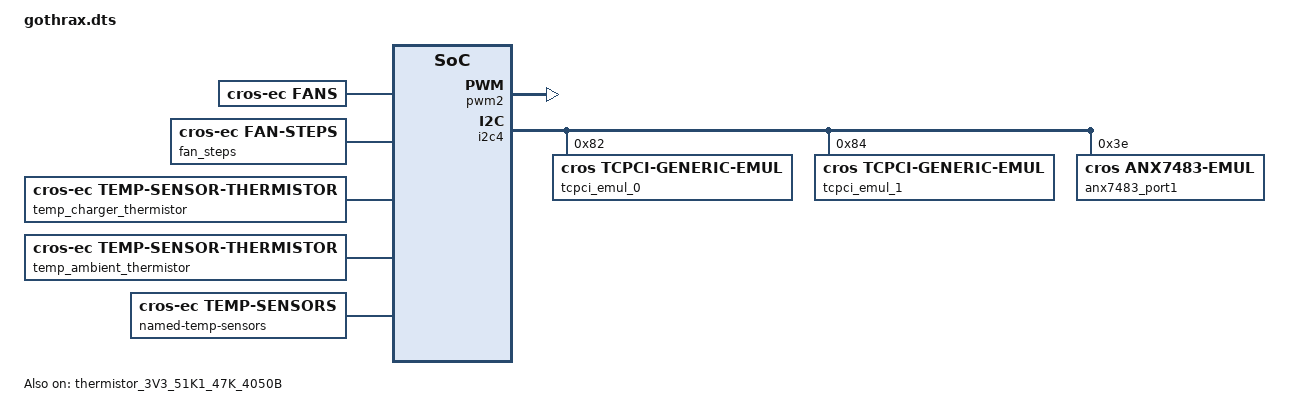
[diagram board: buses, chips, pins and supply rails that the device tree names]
/* Copyright 2023 The ChromiumOS Authors
 * Use of this source code is governed by a BSD-style license that can be
 * found in the LICENSE file.
 */
#include <cros/thermistor/thermistor.dtsi>
#include <dt-bindings/pwm/pwm.h>
#include <it8xxx2_emul.dts>
#include "../program/nissa/cbi.dtsi"
#include "../program/nissa/gothrax/cbi.dtsi"
#include "../program/nissa/gothrax/motionsense.dtsi"
/ {
	aliases {
		gpio-usb-c1-int-odl = &gpio_sb_1;
	};

	named-gpios {
		compatible = "named-gpios";

		gpio_ec_entering_rw: ec_entering_rw {
			gpios = <&gpioc 7 GPIO_OUTPUT>;
			enum-name = "GPIO_ENTERING_RW";
		};
		gpio_en_usb_c0_cc1_vconn: en_usb_c0_cc1_vconn {
			gpios = <&gpioh 4 GPIO_OUTPUT>;
		};
		gpio_en_usb_c0_cc2_vconn: en_usb_c0_cc2_vconn {
			gpios = <&gpioh 6 GPIO_OUTPUT>;
		};
		gpio_usb_c0_int_odl: usb_c0_int_odl {
			gpios = <&gpiok 0 GPIO_INPUT_PULL_UP>;
		};
		gpio_sb_1: sb_1 {
			gpios = <&gpioe 6 0>;
			no-auto-init;
		};
		gpio_imu_int_l: imu_int_l {
			gpios = <&gpioa 7 GPIO_INPUT>;
		};
		gpio_acc_int_l: acc_int_l {
			gpios = <&gpioc 0 GPIO_INPUT>;
		};
		gpio_tablet_mode_l: tablet_mode_l {
			gpios = <&gpioj 0 GPIO_INPUT>;
			enum-name = "GPIO_TABLET_MODE_L";
		};
		gpio_fan_enable: fan-enable {
			gpios = <&gpiog 3 GPIO_OUTPUT>;
			no-auto-init;
		};
		gpio_ec_soc_dsw_pwrok: ec_soc_dsw_pwrok {
			gpios = <&gpiol 7 GPIO_OUTPUT>;
			no-auto-init;
		};
	};

	gpio-interrupts {
		compatible = "cros-ec,gpio-interrupts";

		int_imu: ec_imu {
			irq-pin = <&gpio_imu_int_l>;
			flags = <GPIO_INT_EDGE_FALLING>;
			handler = "motion_interrupt";
		};
		int_lid_imu: lid_imu {
			irq-pin = <&gpio_acc_int_l>;
			flags = <GPIO_INT_EDGE_FALLING>;
			handler = "lid_accel_interrupt";
		};
		int_tablet_mode: tablet_mode {
			irq-pin = <&gpio_tablet_mode_l>;
			flags = <GPIO_INT_EDGE_BOTH>;
			handler = "gmr_tablet_switch_isr";
		};
	};
	named-i2c-ports {
		compatible = "named-i2c-ports";

		i2c_ec_i2c_batt: ec_i2c_batt {
			i2c-port = <&i2c0>;
			enum-names = "I2C_PORT_BATTERY";
		};
		i2c_ec_i2c_sensor: ec_i2c_sensor {
			i2c-port = <&i2c2>;
			enum-names = "I2C_PORT_SENSOR";
		};
	};

	usbc {
		#address-cells = <1>;
		#size-cells = <0>;
		port0@0 {
			compatible = "named-usbc-port";
			reg = <0>;
			tcpc = <&tcpci_emul_0>;
			usb-mux-chain-0 {
				compatible = "cros-ec,usb-mux-chain";
				usb-muxes = <&virtual_mux_0>;
			};
		};
		port1@1 {
			compatible = "named-usbc-port";
			reg = <1>;
			tcpc = <&tcpci_emul_1>;
			usb-mux-chain-1 {
				compatible = "cros-ec,usb-mux-chain";
				usb-muxes = <&virtual_mux_1 &anx7483_port1>;
			};
		};
		port0-muxes {
			virtual_mux_0: virtual-mux-0 {
				compatible = "cros-ec,usbc-mux-virtual";
			};
		};
		port1-muxes {
			virtual_mux_1: virtual-mux-1 {
				compatible = "cros-ec,usbc-mux-virtual";
			};
		};
	};
	pwms {
		#address-cells = <1>;
		#size-cells = <1>;
		pwm2: pwm@6 {
			compatible = "cros,pwm-mock";
			reg = <6 2>;
			#pwm-cells = <3>;
			status = "okay";
		};
	};
	tachs {
		#address-cells = <1>;
		#size-cells = <1>;
		tach1: tach@1 {
			compatible = "cros,tach-mock";
			reg = <1 1>;
			#tach-cells = <3>;
			status = "okay";
		};
	};
	fans {
		compatible = "cros-ec,fans";
		fan0: fan_0 {
			pwms = <&pwm2 2 PWM_KHZ(25) PWM_POLARITY_NORMAL>;
			tach = <&tach1>;
			rpm_min = <2500>;
			rpm_start = <2500>;
			rpm_max = <4800>;
			rpm_deviation = <1>;
			enable_gpio = <&gpio_fan_enable>;
		};
	};
	fan_steps {
		compatible = "cros-ec,fan-steps";
		level_0 {
			temp_on = <36 0 0>;
			temp_off = <99 0 0>;
			rpm_target = <0>;
		};
		level_1 {
			temp_on = <41 0 0>;
			temp_off = <38 0 0>;
			rpm_target = <3000>;
		};
		level_2 {
			temp_on = <47 0 0>;
			temp_off = <44 0 0>;
			rpm_target = <3500>;
		};
		level_3 {
			temp_on = <53 0 0>;
			temp_off = <50 0 0>;
			rpm_target = <4000>;
		};
		level_4 {
			temp_on = <63 0 0>;
			temp_off = <60 0 0>;
			rpm_target = <4500>;
		};
		level_5 {
			temp_on = <70 0 0>;
			temp_off = <67 0 0>;
			rpm_target = <4800>;
		};
	};
	named-adc-channels {
		compatible = "named-adc-channels";
		adc_temp_sensor_1: temp_sensor_1 {
			enum-name = "ADC_TEMP_SENSOR_1";
			io-channels = <&adc0 2>;
		};
		adc_temp_sensor_2: temp_sensor_2 {
			enum-name = "ADC_TEMP_SENSOR_2";
			io-channels = <&adc0 3>;
		};
		adc_temp_sensor_3: temp_sensor_3 {
			enum-name = "ADC_TEMP_SENSOR_3";
			io-channels = <&adc0 13>;
		};
	};
	temp_memory_thermistor: memory {
		compatible = "cros-ec,temp-sensor-thermistor";
		thermistor = <&thermistor_3V3_51K1_47K_4050B>;
		adc = <&adc_temp_sensor_1>;
	};
	temp_charger_thermistor: charger {
		compatible = "cros-ec,temp-sensor-thermistor";
		thermistor = <&thermistor_3V3_51K1_47K_4050B>;
		adc = <&adc_temp_sensor_2>;
	};
	temp_ambient_thermistor: ambient {
		compatible = "cros-ec,temp-sensor-thermistor";
		thermistor = <&thermistor_3V3_51K1_47K_4050B>;
		adc = <&adc_temp_sensor_3>;
	};
	named-temp-sensors {
		compatible = "cros-ec,temp-sensors";
		temp_memory: memory {
			temp_fan_off = <38>;
			temp_fan_max = <76>;
			temp_host_high = <102>;
			temp_host_halt = <104>;
			temp_host_release_high = <94>;
			power-good-pin = <&gpio_ec_soc_dsw_pwrok>;
			sensor = <&temp_memory_thermistor>;
		};
		temp_charger: charger {
			temp_fan_off = <35>;
			temp_fan_max = <60>;
			temp_host_high = <85>;
			temp_host_halt = <90>;
			temp_host_release_high = <80>;
			power-good-pin = <&gpio_ec_soc_dsw_pwrok>;
			sensor = <&temp_charger_thermistor>;
		};
		temp_ambient: ambient {
			temp_fan_off = <35>;
			temp_fan_max = <60>;
			temp_host_high = <85>;
			temp_host_halt = <90>;
			temp_host_release_high = <80>;
			power-good-pin = <&gpio_ec_soc_dsw_pwrok>;
			sensor = <&temp_ambient_thermistor>;
		};
	};
};

&i2c4 {
	tcpci_emul_0: tcpci_emul@82 {
		compatible = "cros,tcpci-generic-emul";
		status = "okay";
		reg = <0x82>;
	};
};

&i2c4 {
	tcpci_emul_1: tcpci_emul@84 {
		compatible = "cros,tcpci-generic-emul";
		status = "okay";
		reg = <0x84>;
	};
	anx7483_port1: anx7483_emul1@3e {
		compatible = "cros,anx7483-emul", "analogix,anx7483";
		reg = <0x3e>;
		board-set = "board_anx7483_c1_mux_set";
	};
};
&thermistor_3V3_51K1_47K_4050B  {
	status = "okay";
};
